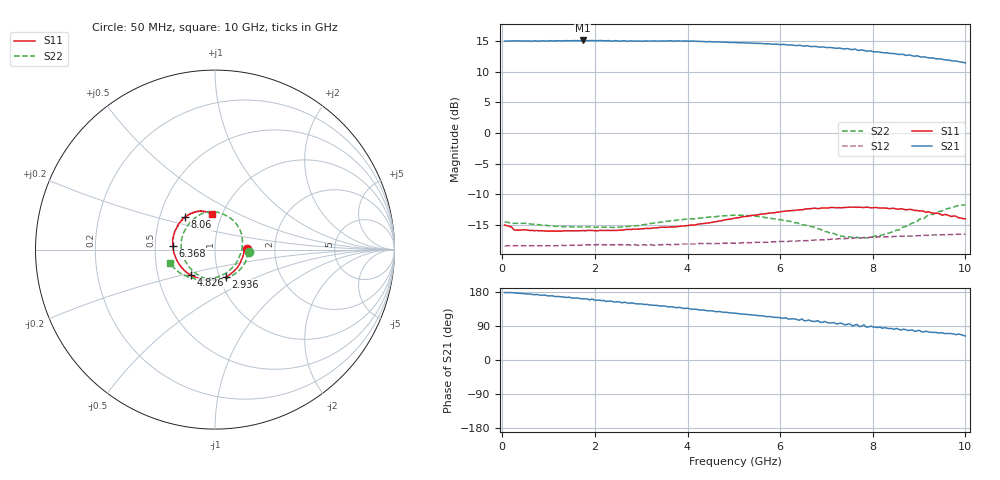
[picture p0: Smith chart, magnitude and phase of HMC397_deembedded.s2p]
!Hittite Microwave Corporation
!12 Elizabeth Drive
!Chelmsford, MA 01824
!Tel: 978-250-3343
!Fax: 978-250-3373
!Device: HMC397, DC-10 GHz InGaP HBT Gain Block MMIC Amplifier
!Misc: Vdd=+5V, Data includes (two) K connectors, Room
# MHZ S MA R 50
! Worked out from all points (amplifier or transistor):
!   201 points, 50 MHz to 10 GHz, reference 50 ohm
!   highest |S21| = 15.1 dB at 1.742 GHz (marker M1)
!   |S21| within 3 dB of that: start of sweep to 9.373 GHz
!   unconditionally stable (mu >= 1): start of sweep to 2.631 GHz; 2.641 GHz to 6.669 GHz; 7.963 GHz to end of sweep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
!   at 1.692 GHz: K = 1.02, MAG = 15.8 dB, |S12| = -18.3 dB
!   at 5.025 GHz: K = 1.05, MAG = 15.0 dB, |S12| = -18.0 dB
!   at 10 GHz: K = 1.13, MAG = 11.8 dB, |S12| = -16.5 dB
!   S11 on the Smith chart (normalised r, x): 50 MHz: 1.43, +0.01; 2.936 GHz: 1.08, -0.34; 4.826 GHz: 0.74, -0.22; 6.368 GHz: 0.62, +0.02; 8.06 GHz: 0.67, +0.26; 10 GHz: 0.90, +0.37
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50  0.177 1.0  5.643 178.0  0.119 -1.2  0.188 -4.4
1741.5  0.16 -36.3  5.717 161.1  0.122 6.3  0.171 -88.4
2935.5  0.164 -67.8  5.665 147.9  0.121 10.0  0.175 -153.8
3383.25  0.169 -81.4  5.643 143.1  0.122 12.4  0.186 -177.7
4826  0.196 -133.3  5.542 126.0  0.126 17.2  0.211 115.9
5025  0.202 -140.9  5.494 123.6  0.126 18.1  0.213 107.8
6368.25  0.235 175.6  5.196 106.3  0.131 21.6  0.185 47.7
6467.75  0.236 173.7  5.179 108.6  0.132 23.5  0.178 41.2
6517.5  0.238 171.7  5.128 103.8  0.132 22.5  0.178 39.3
6716.5  0.243 166.1  5.11 101.8  0.133 23.5  0.171 29.5
7214  0.245 152.5  4.926 95.1  0.136 26.1  0.148 -1.4
7313.5  0.245 149.8  4.925 97.4  0.137 28.0  0.144 -10.6
7413  0.247 148.0  4.892 92.5  0.137 25.8  0.141 -15.7
7512.5  0.248 144.7  4.836 95.0  0.137 23.8  0.142 -23.4
7562.25  0.248 143.6  4.807 89.3  0.138 27.0  0.14 -26.5
7661.75  0.247 142.6  4.78 93.8  0.139 26.9  0.141 -35.0
7711.5  0.248 139.5  4.737 88.1  0.138 26.0  0.139 -37.4
7811  0.246 138.8  4.734 92.5  0.14 27.1  0.14 -46.8
7860.75  0.248 136.5  4.682 86.9  0.139 26.1  0.139 -48.9
8059.75  0.247 132.3  4.622 86.2  0.14 25.7  0.144 -63.6
8358.25  0.241 124.8  4.482 82.8  0.142 28.5  0.153 -84.0
10000  0.199 94.5  3.752 63.3  0.149 29.7  0.259 -163.6
